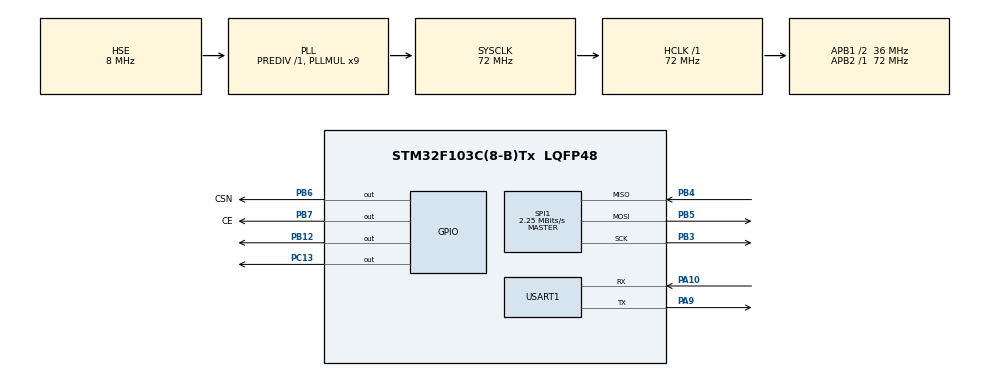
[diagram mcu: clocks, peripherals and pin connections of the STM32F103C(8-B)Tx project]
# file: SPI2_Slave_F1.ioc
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Mcu.Family=STM32F1
Mcu.Name=STM32F103C(8-B)Tx
Mcu.Package=LQFP48
NVIC.PriorityGroup=NVIC_PRIORITYGROUP_4
NVIC.SPI1_IRQn=true\:0\:0\:false\:false\:true\:true\:true
PA10.Mode=Asynchronous
PA10.Signal=USART1_RX
PA13.Mode=Serial_Wire
PA13.Signal=SYS_JTMS-SWDIO
PA14.Mode=Serial_Wire
PA14.Signal=SYS_JTCK-SWCLK
PA9.Mode=Asynchronous
PA9.Signal=USART1_TX
PB12.GPIO_Speed=GPIO_SPEED_FREQ_HIGH
PB12.PinState=GPIO_PIN_SET
PB12.Signal=GPIO_Output
PB3.Mode=Full_Duplex_Master
PB3.Signal=SPI1_SCK
PB4.Mode=Full_Duplex_Master
PB4.Signal=SPI1_MISO
PB5.Mode=Full_Duplex_Master
PB5.Signal=SPI1_MOSI
PB6.GPIO_Label=CSN
PB6.GPIO_Speed=GPIO_SPEED_FREQ_HIGH
PB6.PinState=GPIO_PIN_SET
PB6.Signal=GPIO_Output
PB7.GPIO_Label=CE
PB7.GPIO_Speed=GPIO_SPEED_FREQ_HIGH
PB7.PinState=GPIO_PIN_SET
PB7.Signal=GPIO_Output
PC13-TAMPER-RTC.GPIO_Speed=GPIO_SPEED_FREQ_HIGH
PC13-TAMPER-RTC.PinState=GPIO_PIN_SET
PC13-TAMPER-RTC.Signal=GPIO_Output
PD0-OSC_IN.Mode=HSE-External-Oscillator
PD0-OSC_IN.Signal=RCC_OSC_IN
PD1-OSC_OUT.Mode=HSE-External-Oscillator
PD1-OSC_OUT.Signal=RCC_OSC_OUT
ProjectManager.HeapSize=0x200
ProjectManager.StackSize=0x400
ProjectManager.TargetToolchain=MDK-ARM V5.27
RCC.AHBFreq_Value=72000000
RCC.APB1CLKDivider=RCC_HCLK_DIV2
RCC.APB1Freq_Value=36000000
RCC.APB1TimFreq_Value=72000000
RCC.APB2Freq_Value=72000000
RCC.APB2TimFreq_Value=72000000
RCC.HCLKFreq_Value=72000000
RCC.PLLMUL=RCC_PLL_MUL9
RCC.PLLSourceVirtual=RCC_PLLSOURCE_HSE
RCC.SYSCLKFreq_VALUE=72000000
RCC.SYSCLKSource=RCC_SYSCLKSOURCE_PLLCLK
RCC.USBFreq_Value=72000000
SPI1.BaudRatePrescaler=SPI_BAUDRATEPRESCALER_32
SPI1.CalculateBaudRate=2.25 MBits/s
SPI1.Direction=SPI_DIRECTION_2LINES
SPI1.Mode=SPI_MODE_MASTER
SPI1.VirtualType=VM_MASTER
USART1.VirtualMode=VM_ASYNC
board=custom

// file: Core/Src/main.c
/* USER CODE BEGIN Header */
/**
  ******************************************************************************
  * @file           : main.c
  * @brief          : Main program body
  ******************************************************************************
  * @attention
  *
  * <h2><center>&copy; Copyright (c) 2021 STMicroelectronics.
  * All rights reserved.</center></h2>
  *
  * This software component is licensed by ST under BSD 3-Clause license,
  * the "License"; You may not use this file except in compliance with the
  * License. You may obtain a copy of the License at:
  *                        opensource.org/licenses/BSD-3-Clause
  *
  ******************************************************************************
  */
/* USER CODE END Header */
#include "main.h"

/* USER CODE BEGIN Includes */
#include "nrf24.h"
/* USER CODE END Includes */

/* USER CODE BEGIN PM */
uint8_t ch;
uint64_t RxpipeAddres = 0x11223344AA;
char MyRxData[40];
char MyAckPayload[32] = "Dang Duc";
bool led = false;
/* USER CODE END PM */

SPI_HandleTypeDef hspi1;

UART_HandleTypeDef huart1;

void SystemClock_Config(void);
static void MX_GPIO_Init(void);
static void MX_SPI1_Init(void);
static void MX_USART1_UART_Init(void);

int main(void)
{

  /* MCU Configuration--------------------------------------------------------*/

  /* Reset of all peripherals, Initializes the Flash interface and the Systick. */
  HAL_Init();

  /* Configure the system clock */
  SystemClock_Config();

  /* Initialize all configured peripherals */
  MX_GPIO_Init();
  MX_SPI1_Init();
  MX_USART1_UART_Init();
  /* USER CODE BEGIN 2 */
//	HAL_SPI_Init(&hspi1);
//HAL_UART_Transmit(&huart1,(uint8_t *)"SPI1 F103 Slave\r\n",15,1000);

//HAL_UART_Receive_IT(&huart2,&ch ,1 );
NRF24_begin(GPIOB, CSN_Pin, CE_Pin, hspi1);
nrf24_DebugUART_Init(huart1);
printRadioSettings();
/* Receiver - No ACK */
//NRF24_stopListening();
//NRF24_setDataRate(RF24_2MBPS);
NRF24_setAutoAck(false);
NRF24_setChannel(52);
NRF24_setPayloadSize(32); // VL
NRF24_openReadingPipe(1, RxpipeAddres);
//NRF24_enableDynamicPayloads();
//NRF24_enableAckPayload();

NRF24_startListening();

//HAL_SPI_Receive_IT(&hspi1,(uint8_t*) MyRxData, 32);
//HAL_SPI_IRQHandler(&hspi1);

  /* USER CODE END 2 */

  /* Infinite loop */
  /* USER CODE BEGIN WHILE */
  while (1)
  {
		if(NRF24_available())
		{
			NRF24_read(MyRxData, 4);
			//NRF24_writeAckPayload(1, MyAckPayload, 32);
//			MyRxData[13] = '\r';
//			MyRxData[14] = '\n';
//			HAL_Delay(100);
			HAL_UART_Transmit(&huart1, (uint8_t*) MyRxData, 5, 10);
	if(MyRxData[0] == '1')
	{
		led = true;
		HAL_GPIO_WritePin(GPIOC, GPIO_PIN_13, GPIO_PIN_RESET);
		HAL_GPIO_WritePin(GPIOB, GPIO_PIN_12, GPIO_PIN_RESET);
	}
	if(MyRxData[0] == '0')
	{
		led = false;
		HAL_GPIO_WritePin(GPIOC, GPIO_PIN_13, GPIO_PIN_SET);
		HAL_GPIO_WritePin(GPIOB, GPIO_PIN_12, GPIO_PIN_SET);
	}
		}
		HAL_Delay(500);
    /* USER CODE END WHILE */

  }
}

void SystemClock_Config(void)
{
  RCC_OscInitTypeDef RCC_OscInitStruct = {0};
  RCC_ClkInitTypeDef RCC_ClkInitStruct = {0};

  /** Initializes the RCC Oscillators according to the specified parameters
  * in the RCC_OscInitTypeDef structure.
  */
  RCC_OscInitStruct.OscillatorType = RCC_OSCILLATORTYPE_HSE;
  RCC_OscInitStruct.HSEState = RCC_HSE_ON;
  RCC_OscInitStruct.HSEPredivValue = RCC_HSE_PREDIV_DIV1;
  RCC_OscInitStruct.HSIState = RCC_HSI_ON;
  RCC_OscInitStruct.PLL.PLLState = RCC_PLL_ON;
  RCC_OscInitStruct.PLL.PLLSource = RCC_PLLSOURCE_HSE;
  RCC_OscInitStruct.PLL.PLLMUL = RCC_PLL_MUL9;
  if (HAL_RCC_OscConfig(&RCC_OscInitStruct) != HAL_OK)
  {
    Error_Handler();
  }
  /** Initializes the CPU, AHB and APB buses clocks
  */
  RCC_ClkInitStruct.ClockType = RCC_CLOCKTYPE_HCLK|RCC_CLOCKTYPE_SYSCLK
                              |RCC_CLOCKTYPE_PCLK1|RCC_CLOCKTYPE_PCLK2;
  RCC_ClkInitStruct.SYSCLKSource = RCC_SYSCLKSOURCE_PLLCLK;
  RCC_ClkInitStruct.AHBCLKDivider = RCC_SYSCLK_DIV1;
  RCC_ClkInitStruct.APB1CLKDivider = RCC_HCLK_DIV2;
  RCC_ClkInitStruct.APB2CLKDivider = RCC_HCLK_DIV1;

  if (HAL_RCC_ClockConfig(&RCC_ClkInitStruct, FLASH_LATENCY_2) != HAL_OK)
  {
    Error_Handler();
  }
}

static void MX_SPI1_Init(void)
{

  /* SPI1 parameter configuration*/
  hspi1.Instance = SPI1;
  hspi1.Init.Mode = SPI_MODE_MASTER;
  hspi1.Init.Direction = SPI_DIRECTION_2LINES;
  hspi1.Init.DataSize = SPI_DATASIZE_8BIT;
  hspi1.Init.CLKPolarity = SPI_POLARITY_LOW;
  hspi1.Init.CLKPhase = SPI_PHASE_1EDGE;
  hspi1.Init.NSS = SPI_NSS_SOFT;
  hspi1.Init.BaudRatePrescaler = SPI_BAUDRATEPRESCALER_32;
  hspi1.Init.FirstBit = SPI_FIRSTBIT_MSB;
  hspi1.Init.TIMode = SPI_TIMODE_DISABLE;
  hspi1.Init.CRCCalculation = SPI_CRCCALCULATION_DISABLE;
  hspi1.Init.CRCPolynomial = 10;
  if (HAL_SPI_Init(&hspi1) != HAL_OK)
  {
    Error_Handler();
  }

}

static void MX_USART1_UART_Init(void)
{

  huart1.Instance = USART1;
  huart1.Init.BaudRate = 115200;
  huart1.Init.WordLength = UART_WORDLENGTH_8B;
  huart1.Init.StopBits = UART_STOPBITS_1;
  huart1.Init.Parity = UART_PARITY_NONE;
  huart1.Init.Mode = UART_MODE_TX_RX;
  huart1.Init.HwFlowCtl = UART_HWCONTROL_NONE;
  huart1.Init.OverSampling = UART_OVERSAMPLING_16;
  if (HAL_UART_Init(&huart1) != HAL_OK)
  {
    Error_Handler();
  }

}

static void MX_GPIO_Init(void)
{
  GPIO_InitTypeDef GPIO_InitStruct = {0};

  /* GPIO Ports Clock Enable */
  __HAL_RCC_GPIOC_CLK_ENABLE();
  __HAL_RCC_GPIOD_CLK_ENABLE();
  __HAL_RCC_GPIOB_CLK_ENABLE();
  __HAL_RCC_GPIOA_CLK_ENABLE();

  /*Configure GPIO pin Output Level */
  HAL_GPIO_WritePin(GPIOC, GPIO_PIN_13, GPIO_PIN_SET);

  /*Configure GPIO pin Output Level */
  HAL_GPIO_WritePin(GPIOB, GPIO_PIN_12|CSN_Pin|CE_Pin, GPIO_PIN_SET);

  /*Configure GPIO pin : PC13 */
  GPIO_InitStruct.Pin = GPIO_PIN_13;
  GPIO_InitStruct.Mode = GPIO_MODE_OUTPUT_PP;
  GPIO_InitStruct.Pull = GPIO_NOPULL;
  GPIO_InitStruct.Speed = GPIO_SPEED_FREQ_HIGH;
  HAL_GPIO_Init(GPIOC, &GPIO_InitStruct);

  /*Configure GPIO pins : PB12 CSN_Pin CE_Pin */
  GPIO_InitStruct.Pin = GPIO_PIN_12|CSN_Pin|CE_Pin;
  GPIO_InitStruct.Mode = GPIO_MODE_OUTPUT_PP;
  GPIO_InitStruct.Pull = GPIO_NOPULL;
  GPIO_InitStruct.Speed = GPIO_SPEED_FREQ_HIGH;
  HAL_GPIO_Init(GPIOB, &GPIO_InitStruct);

}

void Error_Handler(void)
{
  __disable_irq();
  while (1)
  {
  }
}

/************************ (C) COPYRIGHT STMicroelectronics *****END OF FILE****/
